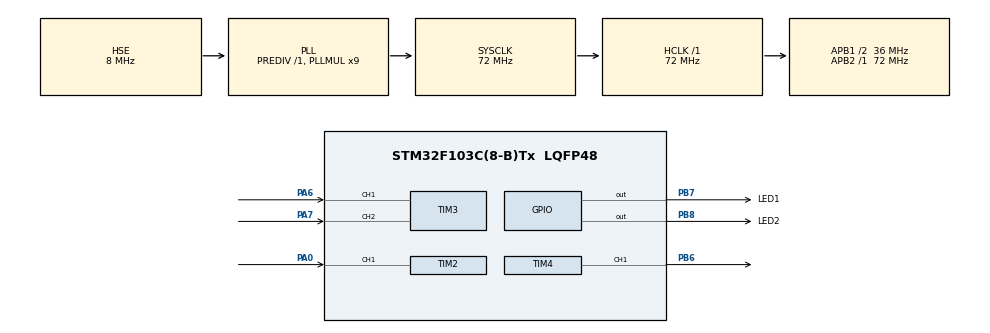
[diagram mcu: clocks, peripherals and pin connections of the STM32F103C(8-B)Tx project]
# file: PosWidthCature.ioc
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Mcu.Family=STM32F1
Mcu.Name=STM32F103C(8-B)Tx
Mcu.Package=LQFP48
NVIC.PriorityGroup=NVIC_PRIORITYGROUP_4
NVIC.TIM2_IRQn=true\:0\:0\:false\:false\:true\:true\:true
PA0-WKUP.Signal=S_TIM2_CH1_ETR
PA13.Mode=Serial_Wire
PA13.Signal=SYS_JTMS-SWDIO
PA14.Mode=Serial_Wire
PA14.Signal=SYS_JTCK-SWCLK
PA6.Signal=S_TIM3_CH1
PA7.Signal=S_TIM3_CH2
PB6.Signal=S_TIM4_CH1
PB7.GPIO_Label=LED1
PB7.GPIO_PuPd=GPIO_PULLUP
PB7.PinState=GPIO_PIN_SET
PB7.Signal=GPIO_Output
PB8.GPIO_Label=LED2
PB8.GPIO_PuPd=GPIO_PULLDOWN
PB8.GPIO_Speed=GPIO_SPEED_FREQ_HIGH
PB8.Signal=GPIO_Output
PD0-OSC_IN.Mode=HSE-External-Oscillator
PD0-OSC_IN.Signal=RCC_OSC_IN
PD1-OSC_OUT.Mode=HSE-External-Oscillator
PD1-OSC_OUT.Signal=RCC_OSC_OUT
ProjectManager.HeapSize=0x200
ProjectManager.StackSize=0x400
ProjectManager.TargetToolchain=MDK-ARM V5.32
RCC.AHBFreq_Value=72000000
RCC.APB1CLKDivider=RCC_HCLK_DIV2
RCC.APB1Freq_Value=36000000
RCC.APB1TimFreq_Value=72000000
RCC.APB2Freq_Value=72000000
RCC.APB2TimFreq_Value=72000000
RCC.HCLKFreq_Value=72000000
RCC.PLLMUL=RCC_PLL_MUL9
RCC.PLLSourceVirtual=RCC_PLLSOURCE_HSE
RCC.SYSCLKFreq_VALUE=72000000
RCC.SYSCLKSource=RCC_SYSCLKSOURCE_PLLCLK
RCC.USBFreq_Value=72000000
SH.S_TIM2_CH1_ETR.0=TIM2_CH1,Input_Capture1_from_TI1
SH.S_TIM2_CH1_ETR.1=TIM2_CH1,TriggerSource_TI1FP1
SH.S_TIM3_CH1.0=TIM3_CH1,Encoder_Interface
SH.S_TIM3_CH2.0=TIM3_CH2,Encoder_Interface
SH.S_TIM4_CH1.0=TIM4_CH1,PWM Generation1 CH1
TIM2.AutoReloadPreload=TIM_AUTORELOAD_PRELOAD_DISABLE
TIM2.Channel-Input_Capture1_from_TI1=TIM_CHANNEL_1
TIM2.Channel-Input_Capture2_from_TI1_63=TIM_CHANNEL_2
TIM2.ClockDivision=TIM_CLOCKDIVISION_DIV1
TIM2.CounterMode=TIM_COUNTERMODE_UP
TIM2.ICPolarity_CH2=TIM_INPUTCHANNELPOLARITY_FALLING
TIM2.Period=65535
TIM2.Prescaler=1
TIM2.TIM_MasterOutputTrigger=TIM_TRGO_RESET
TIM2.TIM_MasterSlaveMode=TIM_MASTERSLAVEMODE_DISABLE
TIM3.EncoderMode=TIM_ENCODERMODE_TI12
TIM3.IC1Filter=6
TIM3.IC2Filter=6
TIM4.Channel-PWM\ Generation1\ CH1=TIM_CHANNEL_1
TIM4.OCFastMode_PWM-PWM\ Generation1\ CH1=TIM_OCFAST_ENABLE
TIM4.Period=10000
TIM4.Prescaler=71
TIM4.Pulse-PWM\ Generation1\ CH1=2500
VP_TIM2_VS_ClockSourceINT.Mode=Internal
VP_TIM2_VS_ControllerModeReset.Mode=Reset Mode
VP_TIM2_VS_indirect_ch1.Mode=Input_Capture2_from_TI1_63
board=custom

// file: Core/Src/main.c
/* USER CODE BEGIN Header */
/**
  ******************************************************************************
  * @file           : main.c
  * @brief          : Main program body
  ******************************************************************************
  * @attention
  *
  * <h2><center>&copy; Copyright (c) 2021 STMicroelectronics.
  * All rights reserved.</center></h2>
  *
  * This software component is licensed by ST under BSD 3-Clause license,
  * the "License"; You may not use this file except in compliance with the
  * License. You may obtain a copy of the License at:
  *                        opensource.org/licenses/BSD-3-Clause
  *
  ******************************************************************************
  */
/* USER CODE END Header */
#include "main.h"

/* USER CODE BEGIN Includes */
#include <stdlib.h>
#include <string.h>
#include <stdio.h>
/* USER CODE END Includes */

TIM_HandleTypeDef htim2;
TIM_HandleTypeDef htim3;
TIM_HandleTypeDef htim4;

void SystemClock_Config(void);
static void MX_GPIO_Init(void);
static void MX_TIM2_Init(void);
static void MX_TIM3_Init(void);
static void MX_TIM4_Init(void);

/* USER CODE BEGIN 0 */
float gPwmDutyf = 0;
MotorAngle_t gMotorAngle;

/* USER CODE END 0 */

int main(void)
{

  /* MCU Configuration--------------------------------------------------------*/

  /* Reset of all peripherals, Initializes the Flash interface and the Systick. */
  HAL_Init();

  /* Configure the system clock */
  SystemClock_Config();

  /* Initialize all configured peripherals */
  MX_GPIO_Init();
  MX_TIM2_Init();
  MX_TIM3_Init();
  MX_TIM4_Init();
  /* USER CODE BEGIN 2 */
	HAL_TIM_Encoder_Start(&htim3,TIM_CHANNEL_ALL);

	HAL_TIM_IC_Start(&htim2,TIM_CHANNEL_1);
	HAL_TIM_IC_Start(&htim2,TIM_CHANNEL_2);

	HAL_TIM_IC_Start(&htim4,TIM_CHANNEL_1);
  /* USER CODE END 2 */

  /* Infinite loop */
  while (1)
  {

    /* USER CODE BEGIN 3 */
		uint16_t ccr1 = __HAL_TIM_GET_COMPARE(&htim2, TIM_CHANNEL_1); /*htim2.Instance->CCR1;*/
		if(ccr1 !=0){
			gPwmDutyf = 100.0*htim2.Instance->CCR2/ccr1;
			uint16_t angle = 360*POLE_PAIR_NUM*htim2.Instance->CCR2/ccr1;
			gMotorAngle.MecAngle = angle/POLE_PAIR_NUM;
			gMotorAngle.ElAngle = angle % 360;
		}

		gMotorAngle.Encoder = __HAL_TIM_GET_COUNTER(&htim3);
  }
  /* USER CODE END 3 */
}

void SystemClock_Config(void)
{
  RCC_OscInitTypeDef RCC_OscInitStruct = {0};
  RCC_ClkInitTypeDef RCC_ClkInitStruct = {0};

  /** Initializes the RCC Oscillators according to the specified parameters
  * in the RCC_OscInitTypeDef structure.
  */
  RCC_OscInitStruct.OscillatorType = RCC_OSCILLATORTYPE_HSE;
  RCC_OscInitStruct.HSEState = RCC_HSE_ON;
  RCC_OscInitStruct.HSEPredivValue = RCC_HSE_PREDIV_DIV1;
  RCC_OscInitStruct.HSIState = RCC_HSI_ON;
  RCC_OscInitStruct.PLL.PLLState = RCC_PLL_ON;
  RCC_OscInitStruct.PLL.PLLSource = RCC_PLLSOURCE_HSE;
  RCC_OscInitStruct.PLL.PLLMUL = RCC_PLL_MUL9;
  if (HAL_RCC_OscConfig(&RCC_OscInitStruct) != HAL_OK)
  {
    Error_Handler();
  }
  /** Initializes the CPU, AHB and APB buses clocks
  */
  RCC_ClkInitStruct.ClockType = RCC_CLOCKTYPE_HCLK|RCC_CLOCKTYPE_SYSCLK
                              |RCC_CLOCKTYPE_PCLK1|RCC_CLOCKTYPE_PCLK2;
  RCC_ClkInitStruct.SYSCLKSource = RCC_SYSCLKSOURCE_PLLCLK;
  RCC_ClkInitStruct.AHBCLKDivider = RCC_SYSCLK_DIV1;
  RCC_ClkInitStruct.APB1CLKDivider = RCC_HCLK_DIV2;
  RCC_ClkInitStruct.APB2CLKDivider = RCC_HCLK_DIV1;

  if (HAL_RCC_ClockConfig(&RCC_ClkInitStruct, FLASH_LATENCY_2) != HAL_OK)
  {
    Error_Handler();
  }
}

static void MX_TIM2_Init(void)
{

  TIM_ClockConfigTypeDef sClockSourceConfig = {0};
  TIM_SlaveConfigTypeDef sSlaveConfig = {0};
  TIM_MasterConfigTypeDef sMasterConfig = {0};
  TIM_IC_InitTypeDef sConfigIC = {0};

  htim2.Instance = TIM2;
  htim2.Init.Prescaler = 1;
  htim2.Init.CounterMode = TIM_COUNTERMODE_UP;
  htim2.Init.Period = 65535;
  htim2.Init.ClockDivision = TIM_CLOCKDIVISION_DIV1;
  htim2.Init.AutoReloadPreload = TIM_AUTORELOAD_PRELOAD_DISABLE;
  if (HAL_TIM_Base_Init(&htim2) != HAL_OK)
  {
    Error_Handler();
  }
  sClockSourceConfig.ClockSource = TIM_CLOCKSOURCE_INTERNAL;
  if (HAL_TIM_ConfigClockSource(&htim2, &sClockSourceConfig) != HAL_OK)
  {
    Error_Handler();
  }
  if (HAL_TIM_IC_Init(&htim2) != HAL_OK)
  {
    Error_Handler();
  }
  sSlaveConfig.SlaveMode = TIM_SLAVEMODE_RESET;
  sSlaveConfig.InputTrigger = TIM_TS_TI1FP1;
  sSlaveConfig.TriggerPolarity = TIM_INPUTCHANNELPOLARITY_RISING;
  sSlaveConfig.TriggerFilter = 0;
  if (HAL_TIM_SlaveConfigSynchro(&htim2, &sSlaveConfig) != HAL_OK)
  {
    Error_Handler();
  }
  sMasterConfig.MasterOutputTrigger = TIM_TRGO_RESET;
  sMasterConfig.MasterSlaveMode = TIM_MASTERSLAVEMODE_DISABLE;
  if (HAL_TIMEx_MasterConfigSynchronization(&htim2, &sMasterConfig) != HAL_OK)
  {
    Error_Handler();
  }
  sConfigIC.ICPolarity = TIM_INPUTCHANNELPOLARITY_RISING;
  sConfigIC.ICSelection = TIM_ICSELECTION_DIRECTTI;
  sConfigIC.ICPrescaler = TIM_ICPSC_DIV1;
  sConfigIC.ICFilter = 0;
  if (HAL_TIM_IC_ConfigChannel(&htim2, &sConfigIC, TIM_CHANNEL_1) != HAL_OK)
  {
    Error_Handler();
  }
  sConfigIC.ICPolarity = TIM_INPUTCHANNELPOLARITY_FALLING;
  sConfigIC.ICSelection = TIM_ICSELECTION_INDIRECTTI;
  if (HAL_TIM_IC_ConfigChannel(&htim2, &sConfigIC, TIM_CHANNEL_2) != HAL_OK)
  {
    Error_Handler();
  }

}

static void MX_TIM3_Init(void)
{

  TIM_Encoder_InitTypeDef sConfig = {0};
  TIM_MasterConfigTypeDef sMasterConfig = {0};

  htim3.Instance = TIM3;
  htim3.Init.Prescaler = 0;
  htim3.Init.CounterMode = TIM_COUNTERMODE_UP;
  htim3.Init.Period = 65535;
  htim3.Init.ClockDivision = TIM_CLOCKDIVISION_DIV1;
  htim3.Init.AutoReloadPreload = TIM_AUTORELOAD_PRELOAD_DISABLE;
  sConfig.EncoderMode = TIM_ENCODERMODE_TI12;
  sConfig.IC1Polarity = TIM_ICPOLARITY_RISING;
  sConfig.IC1Selection = TIM_ICSELECTION_DIRECTTI;
  sConfig.IC1Prescaler = TIM_ICPSC_DIV1;
  sConfig.IC1Filter = 6;
  sConfig.IC2Polarity = TIM_ICPOLARITY_RISING;
  sConfig.IC2Selection = TIM_ICSELECTION_DIRECTTI;
  sConfig.IC2Prescaler = TIM_ICPSC_DIV1;
  sConfig.IC2Filter = 6;
  if (HAL_TIM_Encoder_Init(&htim3, &sConfig) != HAL_OK)
  {
    Error_Handler();
  }
  sMasterConfig.MasterOutputTrigger = TIM_TRGO_RESET;
  sMasterConfig.MasterSlaveMode = TIM_MASTERSLAVEMODE_DISABLE;
  if (HAL_TIMEx_MasterConfigSynchronization(&htim3, &sMasterConfig) != HAL_OK)
  {
    Error_Handler();
  }

}

static void MX_TIM4_Init(void)
{

  TIM_MasterConfigTypeDef sMasterConfig = {0};
  TIM_OC_InitTypeDef sConfigOC = {0};

  htim4.Instance = TIM4;
  htim4.Init.Prescaler = 71;
  htim4.Init.CounterMode = TIM_COUNTERMODE_UP;
  htim4.Init.Period = 10000;
  htim4.Init.ClockDivision = TIM_CLOCKDIVISION_DIV1;
  htim4.Init.AutoReloadPreload = TIM_AUTORELOAD_PRELOAD_DISABLE;
  if (HAL_TIM_PWM_Init(&htim4) != HAL_OK)
  {
    Error_Handler();
  }
  sMasterConfig.MasterOutputTrigger = TIM_TRGO_RESET;
  sMasterConfig.MasterSlaveMode = TIM_MASTERSLAVEMODE_DISABLE;
  if (HAL_TIMEx_MasterConfigSynchronization(&htim4, &sMasterConfig) != HAL_OK)
  {
    Error_Handler();
  }
  sConfigOC.OCMode = TIM_OCMODE_PWM1;
  sConfigOC.Pulse = 2500;
  sConfigOC.OCPolarity = TIM_OCPOLARITY_HIGH;
  sConfigOC.OCFastMode = TIM_OCFAST_ENABLE;
  if (HAL_TIM_PWM_ConfigChannel(&htim4, &sConfigOC, TIM_CHANNEL_1) != HAL_OK)
  {
    Error_Handler();
  }
  HAL_TIM_MspPostInit(&htim4);

}

static void MX_GPIO_Init(void)
{
  GPIO_InitTypeDef GPIO_InitStruct = {0};

  /* GPIO Ports Clock Enable */
  __HAL_RCC_GPIOD_CLK_ENABLE();
  __HAL_RCC_GPIOA_CLK_ENABLE();
  __HAL_RCC_GPIOB_CLK_ENABLE();

  /*Configure GPIO pin Output Level */
  HAL_GPIO_WritePin(LED1_GPIO_Port, LED1_Pin, GPIO_PIN_SET);

  /*Configure GPIO pin Output Level */
  HAL_GPIO_WritePin(LED2_GPIO_Port, LED2_Pin, GPIO_PIN_RESET);

  /*Configure GPIO pin : LED1_Pin */
  GPIO_InitStruct.Pin = LED1_Pin;
  GPIO_InitStruct.Mode = GPIO_MODE_OUTPUT_PP;
  GPIO_InitStruct.Pull = GPIO_PULLUP;
  GPIO_InitStruct.Speed = GPIO_SPEED_FREQ_LOW;
  HAL_GPIO_Init(LED1_GPIO_Port, &GPIO_InitStruct);

  /*Configure GPIO pin : LED2_Pin */
  GPIO_InitStruct.Pin = LED2_Pin;
  GPIO_InitStruct.Mode = GPIO_MODE_OUTPUT_PP;
  GPIO_InitStruct.Pull = GPIO_PULLDOWN;
  GPIO_InitStruct.Speed = GPIO_SPEED_FREQ_HIGH;
  HAL_GPIO_Init(LED2_GPIO_Port, &GPIO_InitStruct);

}

/* USER CODE BEGIN 4 */
void HAL_TIM_IC_CaptureCallback(TIM_HandleTypeDef *htim)
{
//	htim->Instance->CNT = 0;
//	htim->Instance->SR &= ~(1<<10);
}
/* USER CODE END 4 */

void Error_Handler(void)
{
  __disable_irq();
  while (1)
  {
  }
}

/************************ (C) COPYRIGHT STMicroelectronics *****END OF FILE****/
